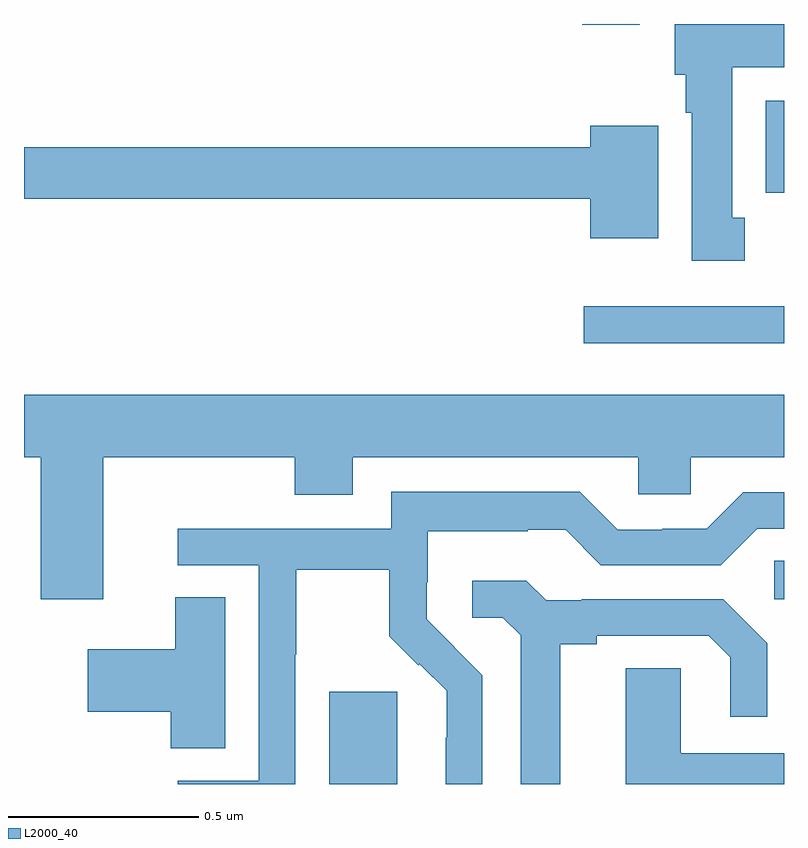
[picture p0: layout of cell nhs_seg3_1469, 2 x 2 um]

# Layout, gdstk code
import gdstk
lib = gdstk.Library(unit=1e-6, precision=1e-09)
def R(c, l, rs):  # rectangles x0, y0, x1, y1
    for r in rs: c.add(gdstk.rectangle(r[:2], r[2:], *l))
def P(c, l, *ps):  # polygons
    for p in ps: c.add(gdstk.Polygon(p, *l))
L2000_40 = (2000, 40)

nhs_seg3_1469 = lib.new_cell('nhs_seg3_1469')
R(nhs_seg3_1469, L2000_40, [(129.803,689.4,129.982,689.643), (130.974,689.886,131,689.987), (130.473,690.56,131,690.657), (130.952,690.956,131,691.198), (130.469,691.398,130.621,691.4)])
P(nhs_seg3_1469, L2000_40, [(130.897,690.89),(130.864,690.89),(130.864,691.286),(131,691.286),(131,691.4),(130.712,691.4),(130.712,691.266),(130.742,691.266),(130.742,691.166),(130.757,691.166),(130.757,690.777),(130.897,690.777)],
  [(130.669,691.132),(130.49,691.132),(130.49,691.076),(129,691.076),(129,690.94),(130.49,690.94),(130.49,690.836),(130.669,690.836)],
  [(129.208,690.26),(129.713,690.26),(129.713,690.161),(129.865,690.161),(129.865,690.26),(130.617,690.26),(130.617,690.162),(130.755,690.162),(130.755,690.26),(131,690.26),(131,690.424),(129,690.424),(129,690.26),(129.044,690.26),(129.044,689.886),(129.208,689.886)],
  [(129.714,689.74),(129.717,689.74),(129.717,689.964),(129.961,689.964),(129.961,689.789),(130.038,689.712),(130.041,689.715),(130.112,689.645),(130.112,689.522),(130.11,689.522),(130.11,689.4),(130.206,689.4),(130.206,689.686),(130.133,689.759),(130.134,689.76),(130.06,689.834),(130.06,689.931),(130.062,689.931),(130.062,690.065),(130.325,690.065),(130.325,690.069),(130.425,690.069),(130.518,689.976),(130.833,689.976),(130.929,690.072),(131,690.072),(131,690.168),(130.893,690.168),(130.797,690.072),(130.679,690.072),(130.679,690.069),(130.563,690.069),(130.463,690.169),(129.966,690.169),(129.966,690.072),(129.405,690.072),(129.405,689.976),(129.618,689.976),(129.618,689.409),(129.405,689.409),(129.405,689.4),(129.714,689.4)],
  [(130.411,689.768),(130.507,689.768),(130.507,689.79),(130.802,689.79),(130.859,689.733),(130.859,689.577),(130.956,689.577),(130.956,689.77),(130.84,689.886),(130.468,689.886),(130.468,689.883),(130.374,689.883),(130.322,689.935),(130.179,689.935),(130.179,689.838),(130.26,689.838),(130.307,689.791),(130.307,689.4),(130.411,689.4)],
  [(129.529,689.891),(129.398,689.891),(129.398,689.755),(129.168,689.755),(129.168,689.59),(129.386,689.59),(129.386,689.494),(129.529,689.494)],
  [(131,689.481),(130.728,689.481),(130.728,689.705),(130.583,689.705),(130.583,689.4),(131,689.4)])

lib.write_gds('nhs_seg3_1469.gds')
